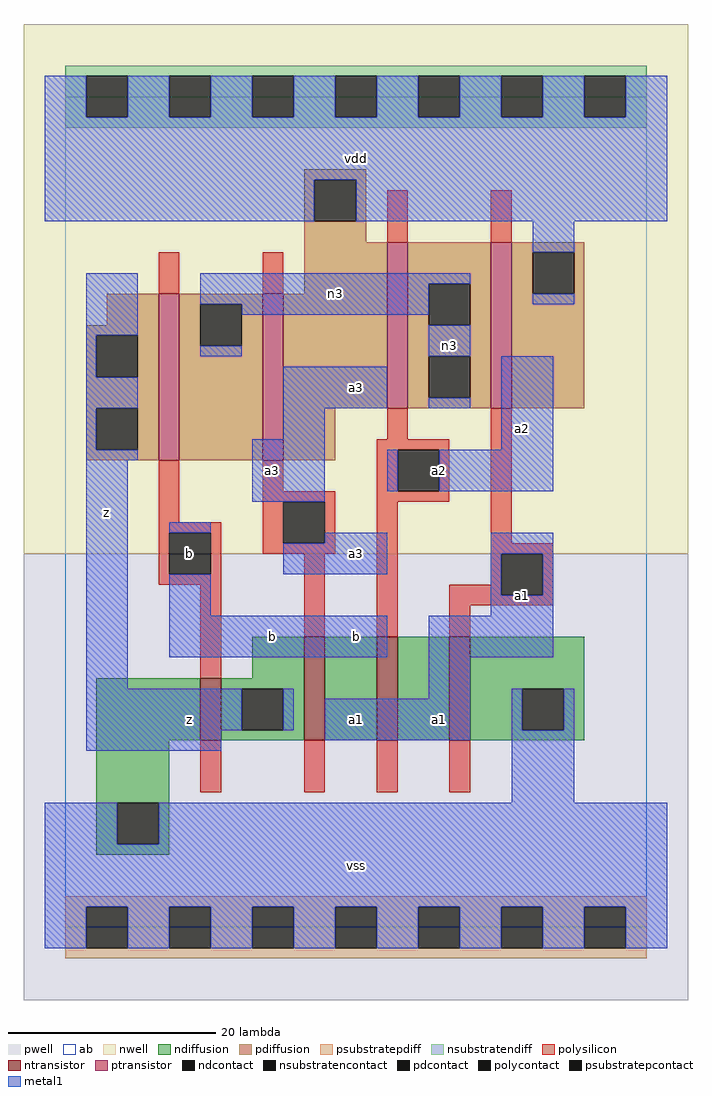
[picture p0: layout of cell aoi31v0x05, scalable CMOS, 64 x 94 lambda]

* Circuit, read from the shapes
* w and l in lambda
.subckt aoi31v0x05 a1 a2 a3 b n3 vdd vss z
M1 z b vss vss nfet w=6 l=2
M2 n1 a3 z vss nfet w=10 l=2
M3 n2 a2 n1 vss nfet w=10 l=2
M4 vss a1 n2 vss nfet w=10 l=2
M5 n3 b z vdd pfet w=16 l=2
M6 vdd a3 n3 vdd pfet w=16 l=2
M7 n3 a2 vdd vdd pfet w=16 l=2
M8 vdd a1 n3 vdd pfet w=16 l=2
.ends

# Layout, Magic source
magic
tech scmos
<< ab >>
rect 0 0 56 80
<< pwell >>
rect -4 -7 60 36
<< nwell >>
rect -4 36 60 87
<< polysilicon >>
rect 31 66 33 71
rect 41 66 43 71
rect 9 61 11 65
rect 19 61 21 65
rect 31 47 33 50
rect 30 46 37 47
rect 9 39 11 45
rect 19 42 21 45
rect 30 42 32 46
rect 36 42 37 46
rect 19 41 26 42
rect 9 38 15 39
rect 9 34 10 38
rect 14 34 15 38
rect 19 37 21 41
rect 25 37 26 41
rect 19 36 26 37
rect 30 41 37 42
rect 9 33 15 34
rect 13 24 15 33
rect 23 28 25 36
rect 30 28 32 41
rect 41 37 43 50
rect 41 36 47 37
rect 41 33 42 36
rect 37 32 42 33
rect 46 32 47 36
rect 37 31 47 32
rect 37 28 39 31
rect 13 13 15 18
rect 23 13 25 18
rect 30 13 32 18
rect 37 13 39 18
<< ndiffusion >>
rect 18 24 23 28
rect 3 18 13 24
rect 15 23 23 24
rect 15 19 17 23
rect 21 19 23 23
rect 15 18 23 19
rect 25 18 30 28
rect 32 18 37 28
rect 39 23 50 28
rect 39 19 44 23
rect 48 19 50 23
rect 39 18 50 19
rect 3 12 10 18
rect 3 8 5 12
rect 9 8 10 12
rect 3 7 10 8
<< pdiffusion >>
rect 23 72 29 73
rect 23 68 24 72
rect 28 68 29 72
rect 23 66 29 68
rect 23 61 31 66
rect 4 58 9 61
rect 2 57 9 58
rect 2 53 3 57
rect 7 53 9 57
rect 2 50 9 53
rect 2 46 3 50
rect 7 46 9 50
rect 2 45 9 46
rect 11 60 19 61
rect 11 56 13 60
rect 17 56 19 60
rect 11 45 19 56
rect 21 50 31 61
rect 33 62 41 66
rect 33 58 35 62
rect 39 58 41 62
rect 33 55 41 58
rect 33 51 35 55
rect 39 51 41 55
rect 33 50 41 51
rect 43 65 50 66
rect 43 61 45 65
rect 49 61 50 65
rect 43 50 50 61
rect 21 45 26 50
<< metal1 >>
rect -2 78 2 82
rect 6 78 10 82
rect 14 78 18 82
rect 22 78 26 82
rect 30 78 34 82
rect 38 78 42 82
rect 46 78 50 82
rect 54 78 58 82
rect -2 72 58 78
rect -2 68 24 72
rect 28 68 58 72
rect 45 65 49 68
rect 2 57 7 63
rect 2 53 3 57
rect 13 62 39 63
rect 13 60 35 62
rect 17 59 35 60
rect 13 55 17 56
rect 45 60 49 61
rect 35 55 39 58
rect 2 50 7 53
rect 2 46 3 50
rect 21 50 31 54
rect 35 50 39 51
rect 21 47 25 50
rect 2 45 7 46
rect 2 23 6 45
rect 18 41 25 47
rect 42 46 47 55
rect 31 42 32 46
rect 36 42 47 46
rect 10 38 14 39
rect 25 37 31 38
rect 21 34 31 37
rect 41 36 47 38
rect 10 30 14 34
rect 41 32 42 36
rect 46 32 47 36
rect 41 30 47 32
rect 10 26 31 30
rect 35 26 47 30
rect 2 19 17 23
rect 21 19 22 23
rect 35 22 39 26
rect 2 17 15 19
rect 25 18 39 22
rect 43 19 44 23
rect 48 19 49 23
rect 43 12 49 19
rect -2 8 5 12
rect 9 8 58 12
rect -2 2 58 8
rect -2 -2 2 2
rect 6 -2 10 2
rect 14 -2 18 2
rect 22 -2 26 2
rect 30 -2 34 2
rect 38 -2 42 2
rect 46 -2 50 2
rect 54 -2 58 2
<< ntransistor >>
rect 13 18 15 24
rect 23 18 25 28
rect 30 18 32 28
rect 37 18 39 28
<< ptransistor >>
rect 9 45 11 61
rect 19 45 21 61
rect 31 50 33 66
rect 41 50 43 66
<< polycontact >>
rect 32 42 36 46
rect 10 34 14 38
rect 21 37 25 41
rect 42 32 46 36
<< ndcontact >>
rect 17 19 21 23
rect 44 19 48 23
rect 5 8 9 12
<< pdcontact >>
rect 24 68 28 72
rect 3 53 7 57
rect 3 46 7 50
rect 13 56 17 60
rect 35 58 39 62
rect 35 51 39 55
rect 45 61 49 65
<< psubstratepcontact >>
rect 2 -2 6 2
rect 10 -2 14 2
rect 18 -2 22 2
rect 26 -2 30 2
rect 34 -2 38 2
rect 42 -2 46 2
rect 50 -2 54 2
<< nsubstratencontact >>
rect 2 78 6 82
rect 10 78 14 82
rect 18 78 22 82
rect 26 78 30 82
rect 34 78 38 82
rect 42 78 46 82
rect 50 78 54 82
<< psubstratepdiff >>
rect 0 2 56 3
rect 0 -2 2 2
rect 6 -2 10 2
rect 14 -2 18 2
rect 22 -2 26 2
rect 30 -2 34 2
rect 38 -2 42 2
rect 46 -2 50 2
rect 54 -2 56 2
rect 0 -3 56 -2
<< nsubstratendiff >>
rect 0 82 56 83
rect 0 78 2 82
rect 6 78 10 82
rect 14 78 18 82
rect 22 78 26 82
rect 30 78 34 82
rect 38 78 42 82
rect 46 78 50 82
rect 54 78 56 82
rect 0 77 56 78
<< labels >>
rlabel metal1 4 40 4 40 6 z
rlabel metal1 12 20 12 20 6 z
rlabel polycontact 12 36 12 36 6 b
rlabel metal1 28 6 28 6 6 vss
rlabel metal1 20 28 20 28 6 b
rlabel metal1 28 20 28 20 6 a1
rlabel metal1 28 28 28 28 6 b
rlabel metal1 20 44 20 44 6 a3
rlabel metal1 28 36 28 36 6 a3
rlabel metal1 28 52 28 52 6 a3
rlabel metal1 28 74 28 74 6 vdd
rlabel metal1 36 20 36 20 6 a1
rlabel metal1 44 32 44 32 6 a1
rlabel metal1 36 44 36 44 6 a2
rlabel metal1 44 48 44 48 6 a2
rlabel metal1 37 56 37 56 6 n3
rlabel metal1 26 61 26 61 6 n3
<< end >>
